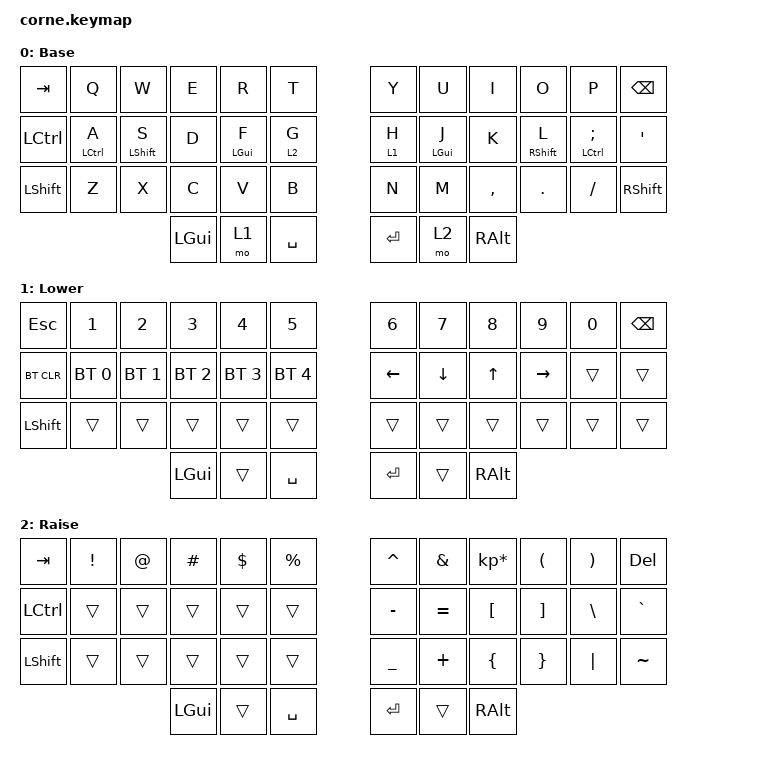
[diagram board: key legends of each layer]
/*
 * Copyright (c) 2020 The ZMK Contributors
 *
 * SPDX-License-Identifier: MIT
 */

#include <behaviors.dtsi>
#include <dt-bindings/zmk/keys.h>
#include <dt-bindings/zmk/bt.h>

/ {
 behaviors {
   

    hm: homerow_mods {
            compatible = "zmk,behavior-hold-tap";
            #binding-cells = <2>;
            tapping-term-ms = <300>;    // This is your 300ms delay
            quick-tap-ms = <0>;
            flavor = "tap-preferred";   // Prioritizes the tap if released quickly
            bindings = <&kp>, <&kp>;

            require-prior-idle-ms = <150>;
        };
    };



    keymap {
                compatible = "zmk,keymap";
                default_layer {
// -----------------------------------------------------------------------------------------
// | TAB     |  Q         |  W        |  E        |  R        |  T        |   |  Y        |  U         |  I        |  O        |  P              | BKSP       |
// | CTRL    |  A         |  S        |  D        |  F        |  G        |   |  H        |  J         |  K        |  L        |  ;              |  '         |
// | SHFT    |  Z         |  X        |  C        |  V        |  B        |   |  N        |  M         |  ,        |  .        |  /              | SHFT       |
//                                    |  GUI      |  LWR      |  SPC      |   |  ENT      |  RSE       |  ALT      |
                        display-name = "Base";
                        bindings = <
   &kp TAB   &kp Q        &kp W        &kp E       &kp R       &kp T           &kp Y       &kp U        &kp I       &kp O       &kp P            &kp BSPC
   &kp LCTRL &mt LCTRL A  &mt LSHFT S  &kp D       &mt LGUI F  &lt 2 G         &lt 1 H     &mt LGUI J   &kp K       &mt RSHFT L &mt LCTRL SEMI   &kp SQT
   &kp LSHFT &kp Z        &kp X        &kp C       &kp V       &kp B           &kp N       &kp M        &kp COMMA   &kp DOT     &kp FSLH         &kp RSHFT
                                       &kp LGUI    &mo 1       &kp SPACE       &kp RET     &mo 2        &kp RALT
                        >;
                };
                lower_layer {
// -----------------------------------------------------------------------------------------
// |  ESC |  1  |  2  |  3  |  4  |  5  |   |  6  |  7  |  8  |  9  |  0  | BKSP |
// | BTCLR| BT1 | BT2 | BT3 | BT4 | BT5 |   | LFT | DWN |  UP | RGT |     |      |
// | SHFT |     |     |     |     |     |   |     |     |     |     |     |      |
//                    | GUI |     | SPC |   | ENT |     | ALT |
                        display-name = "Lower";
                        bindings = <
   &kp ESC    &kp N1       &kp N2       &kp N3       &kp N4       &kp N5         &kp N6   &kp N7   &kp N8 &kp N9    &kp N0 &kp BSPC
   &bt BT_CLR &bt BT_SEL 0 &bt BT_SEL 1 &bt BT_SEL 2 &bt BT_SEL 3 &bt BT_SEL 4   &kp LEFT &kp DOWN &kp UP &kp RIGHT &trans &trans
   &kp LSHFT  &trans       &trans       &trans       &trans       &trans         &trans   &trans   &trans &trans    &trans &trans
                          	        &kp LGUI     &trans       &kp SPACE      &kp RET  &trans   &kp RALT
                        >;
                };

                raise_layer {
// -----------------------------------------------------------------------------------------
// |  TAB |  !  |  @  |  #  |  $  |  %  |   |  ^  |  &  |  *  |  (  |  )  | BKSP |
// | CTRL |     |     |     |     |     |   |  -  |  =  |  [  |  ]  |  \  |  `   |
// | SHFT |     |     |     |     |     |   |  _  |  +  |  {  |  }  | "|" |  ~   |
//                    | GUI |     | SPC |   | ENT |     | ALT |
                        display-name = "Raise";
                        bindings = <
   &kp  TAB  &kp EXCL &kp AT &kp HASH &kp DLLR &kp PRCNT   &kp CARET &kp AMPS  &kp KP_MULTIPLY &kp LPAR &kp RPAR &kp DEL
   &kp LCTRL &trans   &trans &trans   &trans   &trans      &kp MINUS &kp EQUAL &kp LBKT        &kp RBKT &kp BSLH &kp GRAVE
   &kp LSHFT &trans   &trans &trans   &trans   &trans      &kp UNDER &kp PLUS  &kp LBRC        &kp RBRC &kp PIPE &kp TILDE
                    	     &kp LGUI &trans   &kp SPACE   &kp RET   &trans    &kp RALT
                        >;
                };

                extra_1 {
                        status = "reserved";
                };

                extra_2 {
                        status = "reserved";
                };

                extra_3 {
                        status = "reserved";
                };
        };
};
